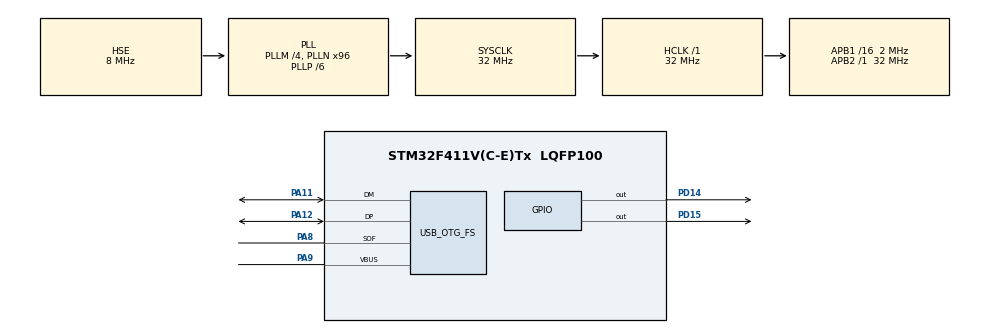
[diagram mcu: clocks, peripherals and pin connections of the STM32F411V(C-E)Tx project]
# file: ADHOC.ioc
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FREERTOS.Tasks01=defaultTask,0,128,StartDefaultTask,Default,NULL
FREERTOS.configCHECK_FOR_STACK_OVERFLOW=2
FREERTOS.configUSE_COUNTING_SEMAPHORES=1
FREERTOS.configUSE_MALLOC_FAILED_HOOK=1
Mcu.Family=STM32F4
Mcu.Name=STM32F411V(C-E)Tx
Mcu.Package=LQFP100
NVIC.OTG_FS_IRQn=true\:5\:0\:false\:false\:true\:true\:false
NVIC.PriorityGroup=NVIC_PRIORITYGROUP_4
NVIC.TIM1_UP_TIM10_IRQn=true\:0\:0\:false\:false\:true\:false\:false
NVIC.TimeBase=TIM1_UP_TIM10_IRQn
NVIC.TimeBaseIP=TIM1
PA11.Mode=Device_Only
PA11.Signal=USB_OTG_FS_DM
PA12.Mode=Device_Only
PA12.Signal=USB_OTG_FS_DP
PA13.Mode=Serial_Wire
PA13.Signal=SYS_JTMS-SWDIO
PA14.Mode=Serial_Wire
PA14.Signal=SYS_JTCK-SWCLK
PA8.Mode=Activate_SOF_FS
PA8.Signal=USB_OTG_FS_SOF
PA9.Mode=Activate_VBUS
PA9.Signal=USB_OTG_FS_VBUS
PD14.Signal=GPIO_Output
PD15.Signal=GPIO_Output
PH0\ -\ OSC_IN.Mode=HSE-External-Oscillator
PH0\ -\ OSC_IN.Signal=RCC_OSC_IN
PH1\ -\ OSC_OUT.Mode=HSE-External-Oscillator
PH1\ -\ OSC_OUT.Signal=RCC_OSC_OUT
ProjectManager.HeapSize=0x200
ProjectManager.StackSize=0x400
ProjectManager.TargetToolchain=TrueSTUDIO
RCC.48MHZClocksFreq_Value=48000000
RCC.AHBFreq_Value=32000000
RCC.APB1CLKDivider=RCC_HCLK_DIV16
RCC.APB1Freq_Value=2000000
RCC.APB1TimCLKDivider=2
RCC.APB1TimFreq_Value=4000000
RCC.APB2Freq_Value=32000000
RCC.APB2TimFreq_Value=32000000
RCC.CortexFreq_Value=32000000
RCC.HCLKFreq_Value=32000000
RCC.HSE_VALUE=8000000
RCC.HSI_VALUE=16000000
RCC.LSE_VALUE=32768
RCC.PLLM=4
RCC.PLLN=96
RCC.PLLP=RCC_PLLP_DIV6
RCC.SYSCLKFreq_VALUE=32000000
RCC.SYSCLKSource=RCC_SYSCLKSOURCE_PLLCLK
RCC.VCOOutputFreq_Value=192000000
USB_DEVICE.CLASS_NAME_FS=CDC
USB_DEVICE.VirtualMode=Cdc
USB_DEVICE.VirtualModeFS=Cdc_FS
USB_OTG_FS.VirtualMode=Device_Only
VP_FREERTOS_VS_ENABLE.Mode=Enabled
VP_SYS_VS_tim1.Mode=TIM1
VP_USB_DEVICE_VS_USB_DEVICE_CDC_FS.Mode=CDC_FS
board=custom

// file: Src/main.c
/**
  ******************************************************************************
  * @file           : main.c
  * @brief          : Main program body
  ******************************************************************************
  * This notice applies to any and all portions of this file
  * that are not between comment pairs USER CODE BEGIN and
  * USER CODE END. Other portions of this file, whether
  * inserted by the user or by software development tools
  * are owned by their respective copyright owners.
  *
  * Copyright (c) 2018 STMicroelectronics International N.V.
  * All rights reserved.
  *
  * Redistribution and use in source and binary forms, with or without
  * modification, are permitted, provided that the following conditions are met:
  *
  * 1. Redistribution of source code must retain the above copyright notice,
  *    this list of conditions and the following disclaimer.
  * 2. Redistributions in binary form must reproduce the above copyright notice,
  *    this list of conditions and the following disclaimer in the documentation
  *    and/or other materials provided with the distribution.
  * 3. Neither the name of STMicroelectronics nor the names of other
  *    contributors to this software may be used to endorse or promote products
  *    derived from this software without specific written permission.
  * 4. This software, including modifications and/or derivative works of this
  *    software, must execute solely and exclusively on microcontroller or
  *    microprocessor devices manufactured by or for STMicroelectronics.
  * 5. Redistribution and use of this software other than as permitted under
  *    this license is void and will automatically terminate your rights under
  *    this license.
  *
  * THIS SOFTWARE IS PROVIDED BY STMICROELECTRONICS AND CONTRIBUTORS "AS IS"
  * AND ANY EXPRESS, IMPLIED OR STATUTORY WARRANTIES, INCLUDING, BUT NOT
  * LIMITED TO, THE IMPLIED WARRANTIES OF MERCHANTABILITY, FITNESS FOR A
  * PARTICULAR PURPOSE AND NON-INFRINGEMENT OF THIRD PARTY INTELLECTUAL PROPERTY
  * RIGHTS ARE DISCLAIMED TO THE FULLEST EXTENT PERMITTED BY LAW. IN NO EVENT
  * SHALL STMICROELECTRONICS OR CONTRIBUTORS BE LIABLE FOR ANY DIRECT, INDIRECT,
  * INCIDENTAL, SPECIAL, EXEMPLARY, OR CONSEQUENTIAL DAMAGES (INCLUDING, BUT NOT
  * LIMITED TO, PROCUREMENT OF SUBSTITUTE GOODS OR SERVICES; LOSS OF USE, DATA,
  * OR PROFITS; OR BUSINESS INTERRUPTION) HOWEVER CAUSED AND ON ANY THEORY OF
  * LIABILITY, WHETHER IN CONTRACT, STRICT LIABILITY, OR TORT (INCLUDING
  * NEGLIGENCE OR OTHERWISE) ARISING IN ANY WAY OUT OF THE USE OF THIS SOFTWARE,
  * EVEN IF ADVISED OF THE POSSIBILITY OF SUCH DAMAGE.
  *
  ******************************************************************************
  */
#include "main.h"
#include "stm32f4xx_hal.h"
#include "cmsis_os.h"
#include "usb_device.h"

/* USER CODE BEGIN Includes */
/* FreeRTOS+TCP includes. */
#include "FreeRTOS_IP.h"
#include "FreeRTOS_Sockets.h"
//#include "FreeRTOS_tcp_server.h"
//#include "FreeRTOS_DHCP.h"
//#include "usbd_cdc.h"
/* USER CODE END Includes */

osThreadId defaultTaskHandle;

/* USER CODE BEGIN PV */
/* Private variables ---------------------------------------------------------*/
#define mainHOST_NAME					"RTOSDemo"
#define mainDEVICE_NICK_NAME			"stm32"

#ifndef configIPINIT_TASK_STACK_SIZE
	#define configIPINIT_TASK_STACK_SIZE ( 4 * configMINIMAL_STACK_SIZE )
#endif
/* The MAC address array is not declared const as the MAC address will
normally be read from an EEPROM and not hard coded (in real deployed
applications).*/
static uint8_t ucMACAddress[ 6 ] = { 0x00, 0x11, 0x22, 0x33, 0x44, 0x55 };

static const uint8_t ucIPAddress[ 4 ] = { 10, 10, 10, 200 };
static const uint8_t ucNetMask[ 4 ] = { 255, 0, 0, 0 };
static const uint8_t ucGatewayAddress[ 4 ] = { 10, 10, 10, 1 };

/* The following is the address of an OpenDNS server. */
static const uint8_t ucDNSServerAddress[ 4 ] = { 208, 67, 222, 222 };
/* USER CODE END PV */

void SystemClock_Config(void);
static void MX_GPIO_Init(void);
void StartDefaultTask(void const * argument);

/* USER CODE BEGIN PFP */
/* Private function prototypes -----------------------------------------------*/

/* USER CODE END PFP */

int main(void)
{

  /* MCU Configuration----------------------------------------------------------*/

  /* Reset of all peripherals, Initializes the Flash interface and the Systick. */
  HAL_Init();

  /* Configure the system clock */
  SystemClock_Config();

  /* Initialize all configured peripherals */
  MX_GPIO_Init();

  /* Create the thread(s) */
  /* definition and creation of defaultTask */
  osThreadDef(defaultTask, StartDefaultTask, osPriorityNormal, 0, 128);

	FreeRTOS_IPInit( ucIPAddress,
				   ucNetMask,
				   ucGatewayAddress,
				   ucDNSServerAddress,
				   ucMACAddress );

  defaultTaskHandle = osThreadCreate(osThread(defaultTask), NULL);

  /* Start scheduler */
  osKernelStart();

  /* We should never get here as control is now taken by the scheduler */

  /* Infinite loop */
  while (1)
  {

  }

}

void SystemClock_Config(void)
{

  RCC_OscInitTypeDef RCC_OscInitStruct;
  RCC_ClkInitTypeDef RCC_ClkInitStruct;

    /**Configure the main internal regulator output voltage
    */
  __HAL_RCC_PWR_CLK_ENABLE();

  __HAL_PWR_VOLTAGESCALING_CONFIG(PWR_REGULATOR_VOLTAGE_SCALE1);

    /**Initializes the CPU, AHB and APB busses clocks
    */
  RCC_OscInitStruct.OscillatorType = RCC_OSCILLATORTYPE_HSE;
  RCC_OscInitStruct.HSEState = RCC_HSE_ON;
  RCC_OscInitStruct.PLL.PLLState = RCC_PLL_ON;
  RCC_OscInitStruct.PLL.PLLSource = RCC_PLLSOURCE_HSE;
  RCC_OscInitStruct.PLL.PLLM = 4;
  RCC_OscInitStruct.PLL.PLLN = 96;
  RCC_OscInitStruct.PLL.PLLP = RCC_PLLP_DIV6;
  RCC_OscInitStruct.PLL.PLLQ = 4;
  if (HAL_RCC_OscConfig(&RCC_OscInitStruct) != HAL_OK)
  {
    _Error_Handler(__FILE__, __LINE__);
  }

    /**Initializes the CPU, AHB and APB busses clocks
    */
  RCC_ClkInitStruct.ClockType = RCC_CLOCKTYPE_HCLK|RCC_CLOCKTYPE_SYSCLK
                              |RCC_CLOCKTYPE_PCLK1|RCC_CLOCKTYPE_PCLK2;
  RCC_ClkInitStruct.SYSCLKSource = RCC_SYSCLKSOURCE_PLLCLK;
  RCC_ClkInitStruct.AHBCLKDivider = RCC_SYSCLK_DIV1;
  RCC_ClkInitStruct.APB1CLKDivider = RCC_HCLK_DIV16;
  RCC_ClkInitStruct.APB2CLKDivider = RCC_HCLK_DIV1;

  if (HAL_RCC_ClockConfig(&RCC_ClkInitStruct, FLASH_LATENCY_1) != HAL_OK)
  {
    _Error_Handler(__FILE__, __LINE__);
  }

    /**Configure the Systick interrupt time
    */
  HAL_SYSTICK_Config(HAL_RCC_GetHCLKFreq()/1000);

    /**Configure the Systick
    */
  HAL_SYSTICK_CLKSourceConfig(SYSTICK_CLKSOURCE_HCLK);

  /* SysTick_IRQn interrupt configuration */
  HAL_NVIC_SetPriority(SysTick_IRQn, 15, 0);
}

/** Configure pins as
        * Analog
        * Input
        * Output
        * EVENT_OUT
        * EXTI
*/
static void MX_GPIO_Init(void)
{

  GPIO_InitTypeDef GPIO_InitStruct;

  /* GPIO Ports Clock Enable */
  __HAL_RCC_GPIOH_CLK_ENABLE();
  __HAL_RCC_GPIOD_CLK_ENABLE();
  __HAL_RCC_GPIOA_CLK_ENABLE();

  /*Configure GPIO pin Output Level */
  HAL_GPIO_WritePin(GPIOD, GPIO_PIN_14|GPIO_PIN_15, GPIO_PIN_RESET);

  /*Configure GPIO pins : PD14 PD15 */
  GPIO_InitStruct.Pin = GPIO_PIN_14|GPIO_PIN_15;
  GPIO_InitStruct.Mode = GPIO_MODE_OUTPUT_PP;
  GPIO_InitStruct.Pull = GPIO_NOPULL;
  GPIO_InitStruct.Speed = GPIO_SPEED_FREQ_LOW;
  HAL_GPIO_Init(GPIOD, &GPIO_InitStruct);

}

/* USER CODE BEGIN 4 */

void ipInitHandlerTask( void *pvParameters )
{
	/* init code for USB_DEVICE */
    ulTaskNotifyTake( pdFALSE, portMAX_DELAY );
    HAL_GPIO_WritePin(GPIOD, GPIO_PIN_14, GPIO_PIN_SET);
	FreeRTOS_IPInit( ucIPAddress,
				   ucNetMask,
				   ucGatewayAddress,
				   ucDNSServerAddress,
				   ucMACAddress );
	vTaskDelete( NULL );
}

/*-----------------------------------------------------------*/

void vApplicationPingReplyHook( ePingReplyStatus_t eStatus, uint16_t usIdentifier )
{
}

/* Called by FreeRTOS+TCP when the network connects or disconnects.  Disconnect
events are only received if implemented in the MAC driver. */
void vApplicationIPNetworkEventHook( eIPCallbackEvent_t eNetworkEvent )
{

}

const char *pcApplicationHostnameHook( void )
{
	/* Assign the name "rtosdemo" to this network node.  This function will be
	called during the DHCP: the machine will be registered with an IP address
	plus this name. */
	return mainHOST_NAME;
}

UBaseType_t uxRand( void )
{
	return( ( int ) ( rand() >> 16UL ) & 0x7fffUL );
}

BaseType_t xApplicationDNSQueryHook( const char *pcName )
{
BaseType_t xReturn;

	/* Determine if a name lookup is for this node.  Two names are given
	to this node: that returned by pcApplicationHostnameHook() and that set
	by mainDEVICE_NICK_NAME. */
	if( strcasecmp( pcName, pcApplicationHostnameHook() ) == 0 )
	{
		xReturn = pdPASS;
	}
	else if( strcasecmp( pcName, mainDEVICE_NICK_NAME ) == 0 )
	{
		xReturn = pdPASS;
	}
	else
	{
		xReturn = pdFAIL;
	}

	return xReturn;
}

/* USER CODE END 4 */

/* StartDefaultTask function */
void StartDefaultTask(void const * argument)
{
  /* init code for USB_DEVICE */
  MX_USB_DEVICE_Init();

  /* USER CODE BEGIN 5 */
  /* Infinite loop */
  for(;;)
  {
	HAL_GPIO_TogglePin(GPIOD, GPIO_PIN_15);
    osDelay(1000);
  }
  /* USER CODE END 5 */
}

void HAL_TIM_PeriodElapsedCallback(TIM_HandleTypeDef *htim)
{
  if (htim->Instance == TIM1) {
    HAL_IncTick();
  }
}

void _Error_Handler(char *file, int line)
{
  while(1)
  {
  }
}

/************************ (C) COPYRIGHT STMicroelectronics *****END OF FILE****/

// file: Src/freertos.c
/**
  ******************************************************************************
  * File Name          : freertos.c
  * Description        : Code for freertos applications
  ******************************************************************************
  * This notice applies to any and all portions of this file
  * that are not between comment pairs USER CODE BEGIN and
  * USER CODE END. Other portions of this file, whether
  * inserted by the user or by software development tools
  * are owned by their respective copyright owners.
  *
  * Copyright (c) 2018 STMicroelectronics International N.V.
  * All rights reserved.
  *
  * Redistribution and use in source and binary forms, with or without
  * modification, are permitted, provided that the following conditions are met:
  *
  * 1. Redistribution of source code must retain the above copyright notice,
  *    this list of conditions and the following disclaimer.
  * 2. Redistributions in binary form must reproduce the above copyright notice,
  *    this list of conditions and the following disclaimer in the documentation
  *    and/or other materials provided with the distribution.
  * 3. Neither the name of STMicroelectronics nor the names of other
  *    contributors to this software may be used to endorse or promote products
  *    derived from this software without specific written permission.
  * 4. This software, including modifications and/or derivative works of this
  *    software, must execute solely and exclusively on microcontroller or
  *    microprocessor devices manufactured by or for STMicroelectronics.
  * 5. Redistribution and use of this software other than as permitted under
  *    this license is void and will automatically terminate your rights under
  *    this license.
  *
  * THIS SOFTWARE IS PROVIDED BY STMICROELECTRONICS AND CONTRIBUTORS "AS IS"
  * AND ANY EXPRESS, IMPLIED OR STATUTORY WARRANTIES, INCLUDING, BUT NOT
  * LIMITED TO, THE IMPLIED WARRANTIES OF MERCHANTABILITY, FITNESS FOR A
  * PARTICULAR PURPOSE AND NON-INFRINGEMENT OF THIRD PARTY INTELLECTUAL PROPERTY
  * RIGHTS ARE DISCLAIMED TO THE FULLEST EXTENT PERMITTED BY LAW. IN NO EVENT
  * SHALL STMICROELECTRONICS OR CONTRIBUTORS BE LIABLE FOR ANY DIRECT, INDIRECT,
  * INCIDENTAL, SPECIAL, EXEMPLARY, OR CONSEQUENTIAL DAMAGES (INCLUDING, BUT NOT
  * LIMITED TO, PROCUREMENT OF SUBSTITUTE GOODS OR SERVICES; LOSS OF USE, DATA,
  * OR PROFITS; OR BUSINESS INTERRUPTION) HOWEVER CAUSED AND ON ANY THEORY OF
  * LIABILITY, WHETHER IN CONTRACT, STRICT LIABILITY, OR TORT (INCLUDING
  * NEGLIGENCE OR OTHERWISE) ARISING IN ANY WAY OUT OF THE USE OF THIS SOFTWARE,
  * EVEN IF ADVISED OF THE POSSIBILITY OF SUCH DAMAGE.
  *
  ******************************************************************************
  */

#include "FreeRTOS.h"
#include "task.h"

/* Hook prototypes */
void vApplicationStackOverflowHook(xTaskHandle xTask, signed char *pcTaskName);
void vApplicationMallocFailedHook(void);

/* USER CODE BEGIN 4 */
__weak void vApplicationStackOverflowHook(xTaskHandle xTask, signed char *pcTaskName)
{
	while(1);
   /* Run time stack overflow checking is performed if
   configCHECK_FOR_STACK_OVERFLOW is defined to 1 or 2. This hook function is
   called if a stack overflow is detected. */
}
/* USER CODE END 4 */

/* USER CODE BEGIN 5 */
__weak void vApplicationMallocFailedHook(void)
{
	while(1);
   /* vApplicationMallocFailedHook() will only be called if
   configUSE_MALLOC_FAILED_HOOK is set to 1 in FreeRTOSConfig.h. It is a hook
   function that will get called if a call to pvPortMalloc() fails.
   pvPortMalloc() is called internally by the kernel whenever a task, queue,
   timer or semaphore is created. It is also called by various parts of the
   demo application. If heap_1.c or heap_2.c are used, then the size of the
   heap available to pvPortMalloc() is defined by configTOTAL_HEAP_SIZE in
   FreeRTOSConfig.h, and the xPortGetFreeHeapSize() API function can be used
   to query the size of free heap space that remains (although it does not
   provide information on how the remaining heap might be fragmented). */
}
/* USER CODE END 5 */

/************************ (C) COPYRIGHT STMicroelectronics *****END OF FILE****/
